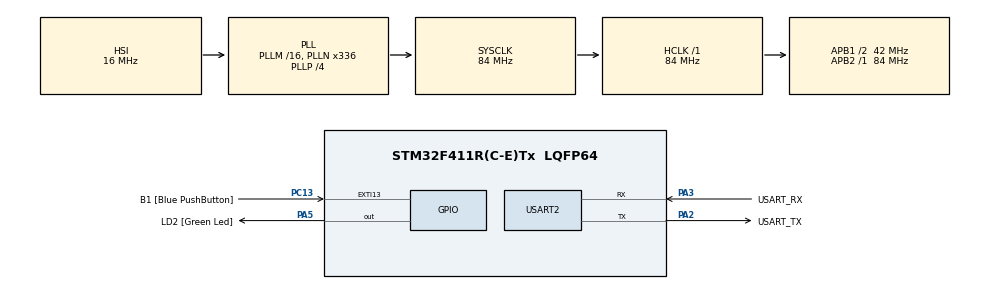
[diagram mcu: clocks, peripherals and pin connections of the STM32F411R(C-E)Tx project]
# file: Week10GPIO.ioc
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Mcu.Family=STM32F4
PC15-OSC32_OUT.Mode=LSE-External-Oscillator
RCC.CortexFreq_Value=84000000
PC13-ANTI_TAMP.GPIO_Label=B1 [Blue PushButton]
PA14.GPIO_Label=TCK
PH1\ -\ OSC_OUT.Mode=HSE-External-Clock-Source
RCC.APB1CLKDivider=RCC_HCLK_DIV2
PC14-OSC32_IN.Signal=RCC_OSC32_IN
NVIC.USART2_IRQn=true\:0\:0\:false\:false\:true\:true\:true
RCC.SYSCLKSource=RCC_SYSCLKSOURCE_PLLCLK
ProjectManager.StackSize=0x400
PA13.Signal=SYS_JTMS-SWDIO
PA3.Mode=Asynchronous
PH0\ -\ OSC_IN.Mode=HSE-External-Clock-Source
PH0\ -\ OSC_IN.Signal=RCC_OSC_IN
ProjectManager.TargetToolchain=STM32CubeIDE
RCC.HCLKFreq_Value=84000000
RCC.APB2TimFreq_Value=84000000
PC15-OSC32_OUT.Signal=RCC_OSC32_OUT
RCC.AHBFreq_Value=84000000
PA5.Signal=GPIO_Output
RCC.HSE_VALUE=8000000
PH1\ -\ OSC_OUT.Signal=RCC_OSC_OUT
board=NUCLEO-F411RE
PC13-ANTI_TAMP.Signal=GPXTI13
RCC.VCOOutputFreq_Value=336000000
RCC.APB2Freq_Value=84000000
PC14-OSC32_IN.Mode=LSE-External-Oscillator
PA14.Mode=Serial_Wire
PA13.Mode=Serial_Wire
Mcu.Name=STM32F411R(C-E)Tx
PA2.Signal=USART2_TX
PA13.GPIO_Label=TMS
RCC.FLatency-AdvancedSettings=FLASH_LATENCY_2
RCC.48MHZClocksFreq_Value=84000000
PB3.Signal=SYS_JTDO-SWO
RCC.SYSCLKFreq_VALUE=84000000
Mcu.Package=LQFP64
PA5.GPIO_Label=LD2 [Green Led]
USART2.VirtualMode=VM_ASYNC
PC13-ANTI_TAMP.GPIO_ModeDefaultEXTI=GPIO_MODE_IT_FALLING
PA2.GPIO_Label=USART_TX
PA14.Signal=SYS_JTCK-SWCLK
ProjectManager.HeapSize=0x200
RCC.HSI_VALUE=16000000
RCC.PLLP=RCC_PLLP_DIV4
NVIC.PriorityGroup=NVIC_PRIORITYGROUP_0
RCC.PLLN=336
RCC.APB1TimFreq_Value=84000000
PA2.Mode=Asynchronous
RCC.APB1Freq_Value=42000000
PA3.GPIO_Label=USART_RX
PA3.Signal=USART2_RX
PB3.GPIO_Label=SWO

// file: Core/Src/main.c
/* USER CODE BEGIN Header */
/**
 ******************************************************************************
 * @file           : main.c
 * @brief          : Main program body
 ******************************************************************************
 * @attention
 *
 * <h2><center>&copy; Copyright (c) 2021 STMicroelectronics.
 * All rights reserved.</center></h2>
 *
 * This software component is licensed by ST under BSD 3-Clause license,
 * the "License"; You may not use this file except in compliance with the
 * License. You may obtain a copy of the License at:
 *                        opensource.org/licenses/BSD-3-Clause
 *
 ******************************************************************************
 */
/* USER CODE END Header */
#include "main.h"

/* USER CODE BEGIN Includes */
#include <stdio.h>
#include <string.h>
/* USER CODE END Includes */

UART_HandleTypeDef huart2;

/* USER CODE BEGIN PV */
enum
{

	System_Start = 0,
	System_Print_Main = 1,
	System_Input_Main = 2,
	System_Print_One = 3,
	System_Input_One = 4,
	System_Print_Two = 5,
	System_Input_Two = 6

};

char TxDataBuffer[100] =
{ 0 };
char RxDataBuffer[32] =
{ 0 };

int LED_State = 1;
int LED_Frequency = 1;
float LED_Half_Period = 0;
uint32_t TimeStamp = 0;
uint8_t System_State = System_Start;

uint8_t Button_State_Bank[2] = {1,1};
/* USER CODE END PV */

void SystemClock_Config(void);
static void MX_GPIO_Init(void);
static void MX_USART2_UART_Init(void);
/* USER CODE BEGIN PFP */
//void UARTRecieveAndResponsePolling();
int16_t UARTRecieveIT();
/* USER CODE END PFP */

int main(void)
{

  /* MCU Configuration--------------------------------------------------------*/

  /* Reset of all peripherals, Initializes the Flash interface and the Systick. */
  HAL_Init();

  /* Configure the system clock */
  SystemClock_Config();

  /* Initialize all configured peripherals */
  MX_GPIO_Init();
  MX_USART2_UART_Init();
  /* USER CODE BEGIN 2 */
  {
  char temp[]="\r\n\r\nHELLO WORLD\r\n please type something to test UART\r\n\r\n\r\n";
  HAL_UART_Transmit(&huart2, (uint8_t*)temp, strlen(temp),10);
  }
  /* USER CODE END 2 */

  /* Infinite loop */
  /* USER CODE BEGIN WHILE */
	while (1)
	{
		/*Method 1 Polling Mode*/

//		UARTRecieveAndResponsePolling();

		/*Method 2 Interrupt Mode*/
		HAL_UART_Receive_IT(&huart2,  (uint8_t*)RxDataBuffer, 32);

		/*Method 2 W/ 1 Char Received*/
		int16_t inputchar = UARTRecieveIT();
		if(inputchar!=-1)
		{
			char TxDataBuffer[100] = { 0 };
			sprintf(TxDataBuffer, "\r\nReceivedChar:[%c]\r\n", inputchar);
			HAL_UART_Transmit(&huart2, (uint8_t*)TxDataBuffer, strlen(TxDataBuffer), 1000);
		}

		char TxDataBuffer[100] = { 0 };

		switch(System_State)
		{
		case System_Start:
			System_State = System_Print_Main;
			break;

		case System_Print_Main:
			sprintf(TxDataBuffer, "[MainMenu] \r\n 1. Led controller \r\n 2. Button State \r\n\r\n\r\n");
			HAL_UART_Transmit(&huart2, (uint8_t*)TxDataBuffer, strlen(TxDataBuffer), 1000);
			System_State = System_Input_Main;
			break;
		case System_Input_Main:
			switch(inputchar)
			{
			case '1':
				System_State = System_Print_One;
				break;
			case '2':
				System_State = System_Print_Two;
				break;
			case -1:
				break;
			default:
				sprintf(TxDataBuffer, "Please press the correct button \r\n");
				HAL_UART_Transmit(&huart2, (uint8_t*)TxDataBuffer, strlen(TxDataBuffer), 1000);
				System_State = System_Print_Main;
				break;
			}
			break;

			case System_Print_One:
				sprintf(TxDataBuffer, "[Led controller] \r\n a. +1 Hz \r\n s. -1 Hz \r\n d. On/Off \r\n x. Back \r\n\r\n\r\n");
				HAL_UART_Transmit(&huart2, (uint8_t*)TxDataBuffer, strlen(TxDataBuffer), 1000);
				System_State = System_Input_One;
				break;
			case System_Input_One:
				switch(inputchar)
				{
				case 'a':
					if(LED_Frequency + 1 <= 30)
					{
						LED_Frequency += 1;
						sprintf(TxDataBuffer, "LED Frequency is %d Hz \r\n" , LED_Frequency);
						HAL_UART_Transmit(&huart2, (uint8_t*)TxDataBuffer, strlen(TxDataBuffer), 1000);
					}
					else
					{
						sprintf(TxDataBuffer, "LED Frequency is at Maximum \r\n");
						HAL_UART_Transmit(&huart2, (uint8_t*)TxDataBuffer, strlen(TxDataBuffer), 1000);
					}
					System_State = System_Print_One;
					break;
				case 's':
					if(LED_Frequency - 1 >= 0)
					{
						LED_Frequency -= 1;
						sprintf(TxDataBuffer, "LED Frequency is %d Hz \r\n" , LED_Frequency);
						HAL_UART_Transmit(&huart2, (uint8_t*)TxDataBuffer, strlen(TxDataBuffer), 1000);
					}
					else
					{
						sprintf(TxDataBuffer, "LED Frequency is at minimum \r\n");
						HAL_UART_Transmit(&huart2, (uint8_t*)TxDataBuffer, strlen(TxDataBuffer), 1000);
					}
					System_State = System_Print_One;
					break;
				case 'd':
					if(LED_State == 1)
					{
						LED_State = 0;
						HAL_GPIO_WritePin(LD2_GPIO_Port, LD2_Pin,GPIO_PIN_RESET);
						sprintf(TxDataBuffer, "Turned LED Off \r\n");
						HAL_UART_Transmit(&huart2, (uint8_t*)TxDataBuffer, strlen(TxDataBuffer), 1000);
					}
					else
					{
						LED_State = 1;
						sprintf(TxDataBuffer, "Turned LED On \r\n");
						HAL_UART_Transmit(&huart2, (uint8_t*)TxDataBuffer, strlen(TxDataBuffer), 1000);
					}
					System_State = System_Print_One;
					break;
				case 'x':
					System_State = System_Print_Main;
					break;
				case -1:
					break;
				default:
					sprintf(TxDataBuffer, "Please press the correct button \r\n");
					HAL_UART_Transmit(&huart2, (uint8_t*)TxDataBuffer, strlen(TxDataBuffer), 1000);
					System_State = System_Print_One;
					break;
				}
				break;

				case System_Print_Two:
					sprintf(TxDataBuffer, "[Button State] \r\n x. Back \r\n\r\n\r\n");
					HAL_UART_Transmit(&huart2, (uint8_t*)TxDataBuffer, strlen(TxDataBuffer), 1000);
					System_State = System_Input_Two;
					break;
				case System_Input_Two:
					Button_State_Bank[0] = HAL_GPIO_ReadPin(B1_GPIO_Port, B1_Pin);
					if(Button_State_Bank[0] == 0 && Button_State_Bank[1] == 1)
					{
						sprintf(TxDataBuffer, "Pressed \r\n");
						HAL_UART_Transmit(&huart2, (uint8_t*)TxDataBuffer, strlen(TxDataBuffer), 1000);
						System_State = System_Print_Two;
					}
					else if(Button_State_Bank[0] == 1 && Button_State_Bank[1] == 0)
					{
						sprintf(TxDataBuffer, "Released \r\n");
						HAL_UART_Transmit(&huart2, (uint8_t*)TxDataBuffer, strlen(TxDataBuffer), 1000);
						System_State = System_Print_Two;
					}
					Button_State_Bank[1] = Button_State_Bank[0];
					switch(inputchar)
					{
					case 'x':
						System_State = System_Print_Main;
						break;
					case -1:
						break;
					default:
						sprintf(TxDataBuffer, "Please press the correct button \r\n");
						HAL_UART_Transmit(&huart2, (uint8_t*)TxDataBuffer, strlen(TxDataBuffer), 1000);
						System_State = System_Print_Two;
						break;
					}
					break;

		}

		LED_Half_Period = ((1.0/LED_Frequency)/2.0)*1000.0;

		/*This section just simulate Work Load*/
		if(LED_State == 1 && LED_Frequency != 0)
		{
			if(HAL_GetTick()-TimeStamp > LED_Half_Period)
			{
				TimeStamp = HAL_GetTick();
				HAL_GPIO_TogglePin(LD2_GPIO_Port, LD2_Pin);
			}
		}

    /* USER CODE END WHILE */

	}
}

void SystemClock_Config(void)
{
  RCC_OscInitTypeDef RCC_OscInitStruct = {0};
  RCC_ClkInitTypeDef RCC_ClkInitStruct = {0};

  /** Configure the main internal regulator output voltage
  */
  __HAL_RCC_PWR_CLK_ENABLE();
  __HAL_PWR_VOLTAGESCALING_CONFIG(PWR_REGULATOR_VOLTAGE_SCALE1);
  /** Initializes the RCC Oscillators according to the specified parameters
  * in the RCC_OscInitTypeDef structure.
  */
  RCC_OscInitStruct.OscillatorType = RCC_OSCILLATORTYPE_HSI;
  RCC_OscInitStruct.HSIState = RCC_HSI_ON;
  RCC_OscInitStruct.HSICalibrationValue = RCC_HSICALIBRATION_DEFAULT;
  RCC_OscInitStruct.PLL.PLLState = RCC_PLL_ON;
  RCC_OscInitStruct.PLL.PLLSource = RCC_PLLSOURCE_HSI;
  RCC_OscInitStruct.PLL.PLLM = 16;
  RCC_OscInitStruct.PLL.PLLN = 336;
  RCC_OscInitStruct.PLL.PLLP = RCC_PLLP_DIV4;
  RCC_OscInitStruct.PLL.PLLQ = 4;
  if (HAL_RCC_OscConfig(&RCC_OscInitStruct) != HAL_OK)
  {
    Error_Handler();
  }
  /** Initializes the CPU, AHB and APB buses clocks
  */
  RCC_ClkInitStruct.ClockType = RCC_CLOCKTYPE_HCLK|RCC_CLOCKTYPE_SYSCLK
                              |RCC_CLOCKTYPE_PCLK1|RCC_CLOCKTYPE_PCLK2;
  RCC_ClkInitStruct.SYSCLKSource = RCC_SYSCLKSOURCE_PLLCLK;
  RCC_ClkInitStruct.AHBCLKDivider = RCC_SYSCLK_DIV1;
  RCC_ClkInitStruct.APB1CLKDivider = RCC_HCLK_DIV2;
  RCC_ClkInitStruct.APB2CLKDivider = RCC_HCLK_DIV1;

  if (HAL_RCC_ClockConfig(&RCC_ClkInitStruct, FLASH_LATENCY_2) != HAL_OK)
  {
    Error_Handler();
  }
}

static void MX_USART2_UART_Init(void)
{

  huart2.Instance = USART2;
  huart2.Init.BaudRate = 115200;
  huart2.Init.WordLength = UART_WORDLENGTH_8B;
  huart2.Init.StopBits = UART_STOPBITS_1;
  huart2.Init.Parity = UART_PARITY_NONE;
  huart2.Init.Mode = UART_MODE_TX_RX;
  huart2.Init.HwFlowCtl = UART_HWCONTROL_NONE;
  huart2.Init.OverSampling = UART_OVERSAMPLING_16;
  if (HAL_UART_Init(&huart2) != HAL_OK)
  {
    Error_Handler();
  }

}

static void MX_GPIO_Init(void)
{
  GPIO_InitTypeDef GPIO_InitStruct = {0};

  /* GPIO Ports Clock Enable */
  __HAL_RCC_GPIOC_CLK_ENABLE();
  __HAL_RCC_GPIOH_CLK_ENABLE();
  __HAL_RCC_GPIOA_CLK_ENABLE();
  __HAL_RCC_GPIOB_CLK_ENABLE();

  /*Configure GPIO pin Output Level */
  HAL_GPIO_WritePin(LD2_GPIO_Port, LD2_Pin, GPIO_PIN_RESET);

  /*Configure GPIO pin : B1_Pin */
  GPIO_InitStruct.Pin = B1_Pin;
  GPIO_InitStruct.Mode = GPIO_MODE_IT_FALLING;
  GPIO_InitStruct.Pull = GPIO_NOPULL;
  HAL_GPIO_Init(B1_GPIO_Port, &GPIO_InitStruct);

  /*Configure GPIO pin : LD2_Pin */
  GPIO_InitStruct.Pin = LD2_Pin;
  GPIO_InitStruct.Mode = GPIO_MODE_OUTPUT_PP;
  GPIO_InitStruct.Pull = GPIO_NOPULL;
  GPIO_InitStruct.Speed = GPIO_SPEED_FREQ_LOW;
  HAL_GPIO_Init(LD2_GPIO_Port, &GPIO_InitStruct);

}

/* USER CODE BEGIN 4 */
//void UARTRecieveAndResponsePolling()
//{
//	char Recieve[32]={0};
//
//	HAL_UART_Receive(&huart2, (uint8_t*)Recieve, 4, 1000);
//
//	sprintf(TxDataBuffer, "Received:[%s]\r\n", Recieve);
//	HAL_UART_Transmit(&huart2, (uint8_t*)TxDataBuffer, strlen(TxDataBuffer), 1000);
//
//}

int16_t UARTRecieveIT()
{
	static uint32_t dataPos =0;
	int16_t data=-1;
	if(huart2.RxXferSize - huart2.RxXferCount!=dataPos)
	{
		data=RxDataBuffer[dataPos];
		dataPos= (dataPos+1)%huart2.RxXferSize;
	}
	return data;
}

//void HAL_UART_RxCpltCallback(UART_HandleTypeDef *huart)
//{
//	sprintf(TxDataBuffer, "Received:[%s]\r\n", RxDataBuffer);
//	HAL_UART_Transmit(&huart2, (uint8_t*)TxDataBuffer, strlen(TxDataBuffer), 1000);
//}
/* USER CODE END 4 */

void Error_Handler(void)
{
	__disable_irq();
	while (1)
	{
	}
}

/************************ (C) COPYRIGHT STMicroelectronics *****END OF FILE****/
